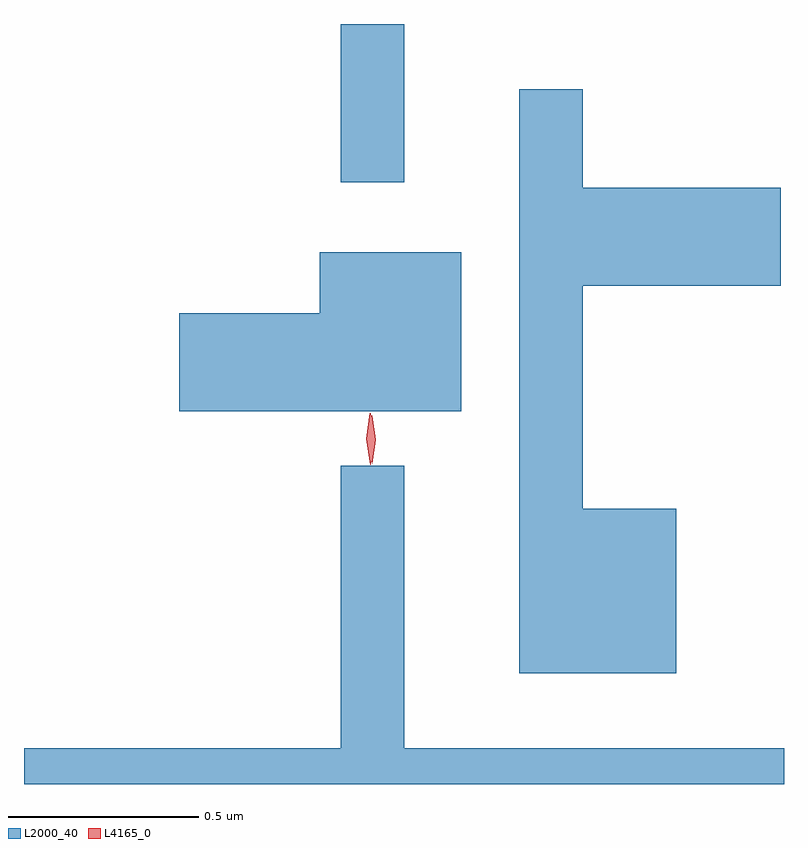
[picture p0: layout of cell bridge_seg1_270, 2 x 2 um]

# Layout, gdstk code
import gdstk
lib = gdstk.Library(unit=1e-6, precision=1e-09)
def R(c, l, rs):  # rectangles x0, y0, x1, y1
    for r in rs: c.add(gdstk.rectangle(r[:2], r[2:], *l))
def P(c, l, *ps):  # polygons
    for p in ps: c.add(gdstk.Polygon(p, *l))
L2000_40 = (2000, 40)
L4165_0 = (4165, 0)

bridge_seg1_270 = lib.new_cell('bridge_seg1_270')
R(bridge_seg1_270, L2000_40, [(964.231,885.793,964.399,886.21)])
P(bridge_seg1_270, L2000_40, [(965.114,884.934),(964.869,884.934),(964.869,885.521),(965.389,885.521),(965.389,885.779),(964.869,885.779),(964.869,886.038),(964.701,886.038),(964.701,884.501),(965.114,884.501)],
  [(964.549,885.609),(964.176,885.609),(964.176,885.449),(963.806,885.449),(963.806,885.191),(964.549,885.191)],
  [(965.398,884.304),(964.399,884.304),(964.399,885.048),(964.231,885.048),(964.231,884.304),(963.398,884.304),(963.398,884.21),(965.398,884.21)])
P(bridge_seg1_270, L4165_0, [(964.309,885.05),(964.299,885.118),(964.308,885.186),(964.309,885.186),(964.31,885.186),(964.319,885.118),(964.31,885.05),(964.31,885.05)],
  [(964.314,885.053),(964.304,885.116),(964.313,885.179),(964.313,885.18),(964.314,885.179),(964.324,885.116),(964.315,885.053),(964.315,885.053)])

lib.write_gds('bridge_seg1_270.gds')
